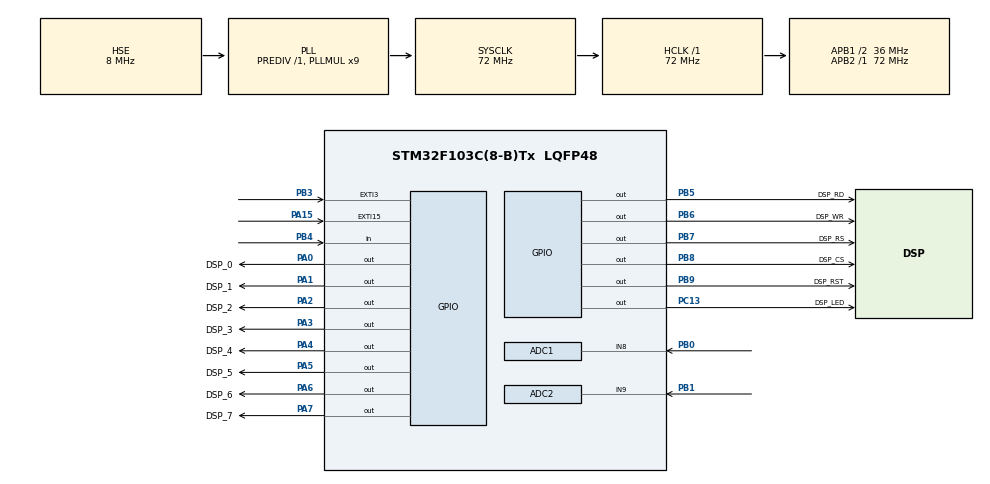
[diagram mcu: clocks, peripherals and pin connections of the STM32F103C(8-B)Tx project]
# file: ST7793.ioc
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ADC1.Channel-0\#ChannelRegularConversion=ADC_CHANNEL_8
ADC1.ContinuousConvMode=DISABLE
ADC1.DataAlign=ADC_DATAALIGN_RIGHT
ADC1.DiscontinuousConvMode=DISABLE
ADC1.EnableAnalogWatchDog=false
ADC1.EnableRegularConversion=ENABLE
ADC1.ExternalTrigConv=ADC_EXTERNALTRIGCONV_T3_TRGO
ADC1.InjNumberOfConversion=0
ADC1.NbrOfConversion=1
ADC1.NbrOfConversionFlag=1
ADC1.Rank-0\#ChannelRegularConversion=1
ADC1.SamplingTime-0\#ChannelRegularConversion=ADC_SAMPLETIME_1CYCLE_5
ADC1.ScanConvMode=ADC_SCAN_DISABLE
ADC1.master=1
ADC2.Channel-0\#ChannelRegularConversion=ADC_CHANNEL_9
ADC2.ContinuousConvMode=DISABLE
ADC2.DataAlign=ADC_DATAALIGN_RIGHT
ADC2.DiscontinuousConvMode=DISABLE
ADC2.EnableAnalogWatchDog=false
ADC2.EnableRegularConversion=ENABLE
ADC2.ExternalTrigConv=ADC_EXTERNALTRIGCONV_T3_TRGO
ADC2.InjNumberOfConversion=0
ADC2.NbrOfConversion=1
ADC2.NbrOfConversionFlag=1
ADC2.Rank-0\#ChannelRegularConversion=1
ADC2.SamplingTime-0\#ChannelRegularConversion=ADC_SAMPLETIME_1CYCLE_5
ADC2.ScanConvMode=ADC_SCAN_DISABLE
Mcu.Family=STM32F1
Mcu.Name=STM32F103C(8-B)Tx
Mcu.Package=LQFP48
NVIC.EXTI15_10_IRQn=true\:0\:0\:false\:false\:true
NVIC.EXTI3_IRQn=true\:0\:0\:false\:false\:true
NVIC.PriorityGroup=NVIC_PRIORITYGROUP_4
NVIC.TIM3_IRQn=true\:0\:0\:false\:false\:true
NVIC.TIM4_IRQn=true\:0\:0\:false\:false\:true
PA0-WKUP.GPIO_Label=DSP_0
PA0-WKUP.GPIO_ModeDefaultOutputPP=GPIO_MODE_OUTPUT_PP
PA0-WKUP.GPIO_Speed=GPIO_SPEED_FREQ_HIGH
PA0-WKUP.PinState=GPIO_PIN_RESET
PA0-WKUP.Signal=GPIO_Output
PA1.GPIO_Label=DSP_1
PA1.GPIO_ModeDefaultOutputPP=GPIO_MODE_OUTPUT_PP
PA1.GPIO_Speed=GPIO_SPEED_FREQ_HIGH
PA1.PinState=GPIO_PIN_RESET
PA1.Signal=GPIO_Output
PA13.Mode=Serial_Wire
PA13.Signal=SYS_JTMS-SWDIO
PA14.Mode=Serial_Wire
PA14.Signal=SYS_JTCK-SWCLK
PA15.GPIO_ModeDefaultEXTI=GPIO_MODE_IT_RISING
PA15.GPIO_PuPd=GPIO_PULLUP
PA15.Signal=GPXTI15
PA2.GPIO_Label=DSP_2
PA2.GPIO_ModeDefaultOutputPP=GPIO_MODE_OUTPUT_PP
PA2.GPIO_Speed=GPIO_SPEED_FREQ_HIGH
PA2.PinState=GPIO_PIN_RESET
PA2.Signal=GPIO_Output
PA3.GPIO_Label=DSP_3
PA3.GPIO_ModeDefaultOutputPP=GPIO_MODE_OUTPUT_PP
PA3.GPIO_Speed=GPIO_SPEED_FREQ_HIGH
PA3.PinState=GPIO_PIN_RESET
PA3.Signal=GPIO_Output
PA4.GPIO_Label=DSP_4
PA4.GPIO_ModeDefaultOutputPP=GPIO_MODE_OUTPUT_PP
PA4.GPIO_Speed=GPIO_SPEED_FREQ_HIGH
PA4.PinState=GPIO_PIN_RESET
PA4.Signal=GPIO_Output
PA5.GPIO_Label=DSP_5
PA5.GPIO_ModeDefaultOutputPP=GPIO_MODE_OUTPUT_PP
PA5.GPIO_Speed=GPIO_SPEED_FREQ_HIGH
PA5.PinState=GPIO_PIN_RESET
PA5.Signal=GPIO_Output
PA6.GPIO_Label=DSP_6
PA6.GPIO_ModeDefaultOutputPP=GPIO_MODE_OUTPUT_PP
PA6.GPIO_Speed=GPIO_SPEED_FREQ_HIGH
PA6.PinState=GPIO_PIN_RESET
PA6.Signal=GPIO_Output
PA7.GPIO_Label=DSP_7
PA7.GPIO_ModeDefaultOutputPP=GPIO_MODE_OUTPUT_PP
PA7.GPIO_Speed=GPIO_SPEED_FREQ_HIGH
PA7.PinState=GPIO_PIN_RESET
PA7.Signal=GPIO_Output
PB0.Signal=ADCx_IN8
PB1.Signal=ADCx_IN9
PB3.GPIO_ModeDefaultEXTI=GPIO_MODE_IT_RISING
PB3.GPIO_PuPd=GPIO_PULLUP
PB3.Signal=GPXTI3
PB4.GPIO_PuPd=GPIO_PULLUP
PB4.Signal=GPIO_Input
PB5.GPIO_Label=DSP_RD
PB5.GPIO_ModeDefaultOutputPP=GPIO_MODE_OUTPUT_PP
PB5.GPIO_Speed=GPIO_SPEED_FREQ_HIGH
PB5.PinState=GPIO_PIN_RESET
PB5.Signal=GPIO_Output
PB6.GPIO_Label=DSP_WR
PB6.GPIO_ModeDefaultOutputPP=GPIO_MODE_OUTPUT_PP
PB6.GPIO_Speed=GPIO_SPEED_FREQ_HIGH
PB6.PinState=GPIO_PIN_RESET
PB6.Signal=GPIO_Output
PB7.GPIO_Label=DSP_RS
PB7.GPIO_ModeDefaultOutputPP=GPIO_MODE_OUTPUT_PP
PB7.GPIO_Speed=GPIO_SPEED_FREQ_HIGH
PB7.PinState=GPIO_PIN_RESET
PB7.Signal=GPIO_Output
PB8.GPIO_Label=DSP_CS
PB8.GPIO_ModeDefaultOutputPP=GPIO_MODE_OUTPUT_PP
PB8.GPIO_Speed=GPIO_SPEED_FREQ_HIGH
PB8.PinState=GPIO_PIN_RESET
PB8.Signal=GPIO_Output
PB9.GPIO_Label=DSP_RST
PB9.GPIO_ModeDefaultOutputPP=GPIO_MODE_OUTPUT_PP
PB9.GPIO_Speed=GPIO_SPEED_FREQ_HIGH
PB9.PinState=GPIO_PIN_RESET
PB9.Signal=GPIO_Output
PC13-TAMPER-RTC.GPIO_Label=DSP_LED
PC13-TAMPER-RTC.GPIO_ModeDefaultOutputPP=GPIO_MODE_OUTPUT_PP
PC13-TAMPER-RTC.GPIO_Speed=GPIO_SPEED_FREQ_HIGH
PC13-TAMPER-RTC.PinState=GPIO_PIN_RESET
PC13-TAMPER-RTC.Signal=GPIO_Output
PD0-OSC_IN.Mode=HSE-External-Oscillator
PD0-OSC_IN.Signal=RCC_OSC_IN
PD1-OSC_OUT.Mode=HSE-External-Oscillator
PD1-OSC_OUT.Signal=RCC_OSC_OUT
ProjectManager.HeapSize=0x200
ProjectManager.StackSize=0x400
ProjectManager.TargetToolchain=Makefile
RCC.ADCPresc=RCC_ADCPCLK2_DIV6
RCC.AHBFreq_Value=72000000
RCC.APB1CLKDivider=RCC_HCLK_DIV2
RCC.APB1Freq_Value=36000000
RCC.APB1TimFreq_Value=72000000
RCC.APB2Freq_Value=72000000
RCC.APB2TimFreq_Value=72000000
RCC.HCLKFreq_Value=72000000
RCC.PLLMUL=RCC_PLL_MUL9
RCC.PLLSourceVirtual=RCC_PLLSOURCE_HSE
RCC.SYSCLKFreq_VALUE=72000000
RCC.SYSCLKSource=RCC_SYSCLKSOURCE_PLLCLK
RCC.USBFreq_Value=72000000
SH.ADCx_IN8.0=ADC1_IN8,IN8
SH.ADCx_IN9.0=ADC2_IN9,IN9
TIM3.Period=10-1
TIM3.Prescaler=128-1
TIM3.TIM_MasterOutputTrigger=TIM_TRGO_UPDATE
TIM4.AutoReloadPreload=TIM_AUTORELOAD_PRELOAD_ENABLE
TIM4.Period=1000-1
TIM4.Prescaler=128-1
TIM4.TIM_MasterOutputTrigger=TIM_TRGO_UPDATE
VP_TIM3_VS_ClockSourceINT.Mode=Internal
VP_TIM4_VS_ClockSourceINT.Mode=Internal
board=ST7793

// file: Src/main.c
/**
  ******************************************************************************
  * File Name          : main.c
  * Description        : Main program body
  ******************************************************************************
  ** This notice applies to any and all portions of this file
  * that are not between comment pairs USER CODE BEGIN and
  * USER CODE END. Other portions of this file, whether
  * inserted by the user or by software development tools
  * are owned by their respective copyright owners.
  *
  * COPYRIGHT(c) 2019 STMicroelectronics
  *
  * Redistribution and use in source and binary forms, with or without modification,
  * are permitted provided that the following conditions are met:
  *   1. Redistributions of source code must retain the above copyright notice,
  *      this list of conditions and the following disclaimer.
  *   2. Redistributions in binary form must reproduce the above copyright notice,
  *      this list of conditions and the following disclaimer in the documentation
  *      and/or other materials provided with the distribution.
  *   3. Neither the name of STMicroelectronics nor the names of its contributors
  *      may be used to endorse or promote products derived from this software
  *      without specific prior written permission.
  *
  * THIS SOFTWARE IS PROVIDED BY THE COPYRIGHT HOLDERS AND CONTRIBUTORS "AS IS"
  * AND ANY EXPRESS OR IMPLIED WARRANTIES, INCLUDING, BUT NOT LIMITED TO, THE
  * IMPLIED WARRANTIES OF MERCHANTABILITY AND FITNESS FOR A PARTICULAR PURPOSE ARE
  * DISCLAIMED. IN NO EVENT SHALL THE COPYRIGHT HOLDER OR CONTRIBUTORS BE LIABLE
  * FOR ANY DIRECT, INDIRECT, INCIDENTAL, SPECIAL, EXEMPLARY, OR CONSEQUENTIAL
  * DAMAGES (INCLUDING, BUT NOT LIMITED TO, PROCUREMENT OF SUBSTITUTE GOODS OR
  * SERVICES; LOSS OF USE, DATA, OR PROFITS; OR BUSINESS INTERRUPTION) HOWEVER
  * CAUSED AND ON ANY THEORY OF LIABILITY, WHETHER IN CONTRACT, STRICT LIABILITY,
  * OR TORT (INCLUDING NEGLIGENCE OR OTHERWISE) ARISING IN ANY WAY OUT OF THE USE
  * OF THIS SOFTWARE, EVEN IF ADVISED OF THE POSSIBILITY OF SUCH DAMAGE.
  *
  ******************************************************************************
  */
#include "main.h"
#include "stm32f1xx_hal.h"
#include "adc.h"
#include "tim.h"
#include "gpio.h"

/* USER CODE BEGIN Includes */
#include "SetSysClockTo128.h"
#include "pins_ext.h"
#include "bit_band.h"
#include "soft_spi.h"
#include "amplifier.h"
// #include "enc.h"
#include <math.h>
#include "osc.h"
#include "tft_base.h"
#include "utoa.h"
#include "icons.h"
#include "tft_adafruit.h"
#include "tft_gfx.h"
#include "tft_gfx2.h"
// #include "myimage.h"

#include "FreeSans9pt7b.h"

#pragma GCC diagnostic ignored "-Wimplicit-function-declaration"

#define SYSCLK_FREQ_128MHz

#define M_PI 3.14159
#define WIDTH 400 // set_width tft
#define HEIGHT 240 // set_height tft

/* USER CODE END Includes */

/* USER CODE BEGIN PV */
/* Private variables ---------------------------------------------------------*/
extern bitband_t mosi;
extern bitband_t clock;
extern bitband_t amplifier_cs;

extern TIM_HandleTypeDef htim3;

extern uint16_t tft_W;
extern uint16_t tft_H;
extern uint16_t BACK_COLOR;
extern uint16_t POINT_COLOR;

extern uint8_t penguin[];

/* USER CODE END PV */

void SystemClock_Config(void);

/* USER CODE BEGIN PFP */
/* Private function prototypes -----------------------------------------------*/
void test_screen(void);
/* USER CODE END PFP */

/* USER CODE BEGIN 0 */

uint16_t array_sin[WIDTH];
uint16_t array_cos[WIDTH];

void test_screen(void)
{
  for(uint16_t i = 0; i < tft_W; i++) // count point
  {
    array_cos[i]=(float)48*cos(30*0.05*M_PI*i/180)+100;
    array_sin[i]=(float)48*sin(30*0.05*M_PI*i/180)+140;
  }

  for(uint16_t i = 0x00e0; i<0x00f0; i += 0x1)
  {
    uint16_t color = i;
    BACK_COLOR=color;
    POINT_COLOR=~color & 0xffff;
    fastRect(0, 0, tft_W, 240, i);
    // tft_fill_grid(24/*y1*/, 0/*x1*/, 240-24/*y2*/, tft_W/*x2*/, i);

    setAddrWindow(tft_W/2 - 20 + 0, tft_H/2 - 20 + 0, tft_W/2 - 20 + 39, tft_H/2 - 20 + 39);
    // pushColors1(penguin, 1600, 1);
    // pushColors3(penguin, 1600, 1, false);
    write_grid();
  }

  for(uint16_t i = 50; i < tft_W-50; i++)
  {
    uint16_t color = i;
    BACK_COLOR=color;
    POINT_COLOR=~color & 0xffff;
    // tft_draw_point(i,array_cos[i], ~color & 0xffff);
    // tft_draw_point(i,array_sin[i], ~color & 0xffff);
    fillCircle(i, array_cos[i], 2, COLOR_BLUE);
    fillCircle(i, array_sin[i], 5, COLOR_GREEN);
  }

  setAddrWindow(tft_W/2 - 20 + 0, tft_H/2 - 20 + 0, tft_W/2 - 20 + 39, tft_H/2 - 20 + 39);
  pushColors3(penguin, 1600, 1, false);
  HAL_Delay(2000);
}

/* USER CODE END 0 */

int main(void)
{

  /* MCU Configuration----------------------------------------------------------*/

  /* Reset of all peripherals, Initializes the Flash interface and the Systick. */
  HAL_Init();

  /* USER CODE BEGIN Init */
  mosi = BITBAND_PERIPH(&GPIOB->ODR, 12);
  clock = BITBAND_PERIPH(&GPIOB->ODR, 14);
  amplifier_cs = BITBAND_PERIPH(&GPIOA->ODR, 8);

  pin_mode(GPIOB, GPIO_PIN_12, GPIO_MODE_OUTPUT_PP); // lcd mosi
  pin_mode(GPIOB, GPIO_PIN_14, GPIO_MODE_OUTPUT_PP); // lcd clk
  pin_mode(GPIOA, GPIO_PIN_8, GPIO_MODE_OUTPUT_PP); // lcd cs

  soft_spi_set_bit_order(SPI_MSB_FIRST);
  soft_spi_set_data_mode(SPI_MODE0);
  soft_spi_set_clock_divider(SPI_CLOCK_DIV2);

  /* USER CODE END Init */

  /* Configure the system clock */
  SystemClock_Config();

  /* USER CODE BEGIN SysInit */
  HAL_RCC_DeInit();
  SystemClock_Config94(); // see makefile: if optimisation enabled flag OPT = -O2 or OPT = -O3, use 94 MGz
  // SystemClock_Config128(); // see makefile: if optimisation disable flag OPT = -Og, use 128 MGz

  /* USER CODE END SysInit */

  /* Initialize all configured peripherals */
  MX_GPIO_Init();
  MX_TIM3_Init();
  MX_ADC1_Init();
  MX_TIM4_Init();
  MX_ADC2_Init();

  /* Infinite loop */
  /* USER CODE BEGIN WHILE */
  HAL_TIM_Base_Init(&htim3);
  HAL_TIM_PeriodElapsedCallback(&htim3);
  HAL_TIM_Base_Start_IT(&htim3); //запустим таймер

  HAL_TIM_Base_Init(&htim4);
  HAL_TIM_PeriodElapsedCallback(&htim4);
  HAL_TIM_Base_Start_IT(&htim4); //запустим таймер

  HAL_ADC_Start(&hadc1);//запустим аналогово-цифровое преобразование
  HAL_ADC_Start(&hadc2);//запустим аналогово-цифровое преобразование

  set_width(WIDTH);
  set_height(HEIGHT);

  init_tft();
  setRotation(1);
  test_screen();

  setFont(&FreeSans9pt7b);

  setTextSize(2);
  setCursor(100, 100);
  setTextColor(COLOR_GREEN);
  write('+');

  drawChar(40, 60, 'R', COLOR_RED, 0, 2);
  drawChar(40, 120, 'G', COLOR_GREEN, 0, 2);
  drawChar(40, 180, 'B', COLOR_BLUE, 0, 2);

  HAL_Delay(1000);

  setAddrWindow(tft_W/2 - 20 + 0, tft_H/2 - 20 + 0, tft_W/2 - 20 + 39, tft_H/2 - 20 + 39);
  // pushColors1(penguin, 1600, 1);
  pushColors3(penguin, 1600, 1, false);

  HAL_Delay(1000);

  oscil_init();

  while (1)
  {

  /* USER CODE END WHILE */

  /* USER CODE BEGIN 3 */
    oscil_run();

  }
  /* USER CODE END 3 */

}

/** System Clock Configuration
*/
void SystemClock_Config(void)
{

  RCC_OscInitTypeDef RCC_OscInitStruct;
  RCC_ClkInitTypeDef RCC_ClkInitStruct;
  RCC_PeriphCLKInitTypeDef PeriphClkInit;

    /**Initializes the CPU, AHB and APB busses clocks
    */
  RCC_OscInitStruct.OscillatorType = RCC_OSCILLATORTYPE_HSE;
  RCC_OscInitStruct.HSEState = RCC_HSE_ON;
  RCC_OscInitStruct.HSEPredivValue = RCC_HSE_PREDIV_DIV1;
  RCC_OscInitStruct.HSIState = RCC_HSI_ON;
  RCC_OscInitStruct.PLL.PLLState = RCC_PLL_ON;
  RCC_OscInitStruct.PLL.PLLSource = RCC_PLLSOURCE_HSE;
  RCC_OscInitStruct.PLL.PLLMUL = RCC_PLL_MUL9;
  if (HAL_RCC_OscConfig(&RCC_OscInitStruct) != HAL_OK)
  {
    _Error_Handler(__FILE__, __LINE__);
  }

    /**Initializes the CPU, AHB and APB busses clocks
    */
  RCC_ClkInitStruct.ClockType = RCC_CLOCKTYPE_HCLK|RCC_CLOCKTYPE_SYSCLK
                              |RCC_CLOCKTYPE_PCLK1|RCC_CLOCKTYPE_PCLK2;
  RCC_ClkInitStruct.SYSCLKSource = RCC_SYSCLKSOURCE_PLLCLK;
  RCC_ClkInitStruct.AHBCLKDivider = RCC_SYSCLK_DIV1;
  RCC_ClkInitStruct.APB1CLKDivider = RCC_HCLK_DIV2;
  RCC_ClkInitStruct.APB2CLKDivider = RCC_HCLK_DIV1;

  if (HAL_RCC_ClockConfig(&RCC_ClkInitStruct, FLASH_LATENCY_2) != HAL_OK)
  {
    _Error_Handler(__FILE__, __LINE__);
  }

  PeriphClkInit.PeriphClockSelection = RCC_PERIPHCLK_ADC;
  PeriphClkInit.AdcClockSelection = RCC_ADCPCLK2_DIV6;
  if (HAL_RCCEx_PeriphCLKConfig(&PeriphClkInit) != HAL_OK)
  {
    _Error_Handler(__FILE__, __LINE__);
  }

    /**Configure the Systick interrupt time
    */
  HAL_SYSTICK_Config(HAL_RCC_GetHCLKFreq()/1000);

    /**Configure the Systick
    */
  HAL_SYSTICK_CLKSourceConfig(SYSTICK_CLKSOURCE_HCLK);

  /* SysTick_IRQn interrupt configuration */
  HAL_NVIC_SetPriority(SysTick_IRQn, 0, 0);
}

void _Error_Handler(char * file, int line)
{
  while(1)
  {
  }
}

/************************ (C) COPYRIGHT STMicroelectronics *****END OF FILE****/
